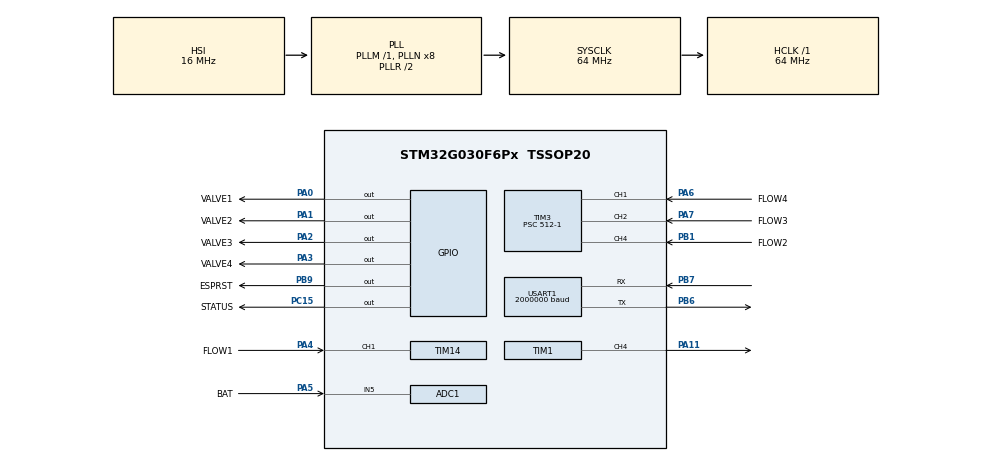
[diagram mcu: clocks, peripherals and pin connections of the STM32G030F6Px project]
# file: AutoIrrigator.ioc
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ADC1.Channel-0\#ChannelRegularConversion=ADC_CHANNEL_5
ADC1.NbrOfConversionFlag=1
ADC1.Rank-0\#ChannelRegularConversion=1
ADC1.SamplingTime-0\#ChannelRegularConversion=ADC_SAMPLINGTIME_COMMON_1
ADC1.SelectedChannel=ADC_CHANNEL_5
ADC1.master=1
Dma.Request0=USART1_RX
Dma.USART1_RX.0.Direction=DMA_PERIPH_TO_MEMORY
Dma.USART1_RX.0.EventEnable=DISABLE
Dma.USART1_RX.0.Instance=DMA1_Channel1
Dma.USART1_RX.0.MemDataAlignment=DMA_MDATAALIGN_BYTE
Dma.USART1_RX.0.MemInc=DMA_MINC_ENABLE
Dma.USART1_RX.0.Mode=DMA_CIRCULAR
Dma.USART1_RX.0.PeriphDataAlignment=DMA_PDATAALIGN_BYTE
Dma.USART1_RX.0.PeriphInc=DMA_PINC_DISABLE
Dma.USART1_RX.0.Polarity=HAL_DMAMUX_REQ_GEN_RISING
Dma.USART1_RX.0.Priority=DMA_PRIORITY_LOW
Dma.USART1_RX.0.RequestNumber=1
Dma.USART1_RX.0.SignalID=NONE
Dma.USART1_RX.0.SyncEnable=DISABLE
Dma.USART1_RX.0.SyncPolarity=HAL_DMAMUX_SYNC_NO_EVENT
Dma.USART1_RX.0.SyncRequestNumber=1
Dma.USART1_RX.0.SyncSignalID=NONE
Mcu.Family=STM32G0
Mcu.Name=STM32G030F6Px
Mcu.Package=TSSOP20
NVIC.DMA1_Channel1_IRQn=true\:1\:0\:true\:false\:true\:false\:true\:true
NVIC.TIM14_IRQn=true\:0\:0\:false\:false\:true\:true\:true\:true
NVIC.TIM1_CC_IRQn=true\:0\:0\:false\:false\:true\:true\:true\:true
NVIC.TIM3_IRQn=true\:0\:0\:false\:false\:true\:true\:true\:true
PA0.GPIO_Label=VALVE1
PA0.GPIO_PuPd=GPIO_NOPULL
PA0.PinState=GPIO_PIN_RESET
PA0.Signal=GPIO_Output
PA1.GPIO_Label=VALVE2
PA1.GPIO_PuPd=GPIO_NOPULL
PA1.Signal=GPIO_Output
PA11\ [PA9].Signal=S_TIM1_CH4
PA13.Mode=Serial_Wire
PA13.Signal=SYS_SWDIO
PA14-BOOT0.Mode=Serial_Wire
PA14-BOOT0.Signal=SYS_SWCLK
PA14-BOOT0__PA15.StandardMode=true
PA2.GPIO_Label=VALVE3
PA2.GPIO_PuPd=GPIO_NOPULL
PA2.Signal=GPIO_Output
PA3.GPIO_Label=VALVE4
PA3.GPIO_PuPd=GPIO_NOPULL
PA3.Signal=GPIO_Output
PA4.GPIO_Label=FLOW1
PA4.GPIO_PuPd=GPIO_PULLUP
PA4.Signal=S_TIM14_CH1
PA5.GPIO_Label=BAT
PA5.Mode=IN5
PA5.Signal=ADC1_IN5
PA6.GPIO_Label=FLOW4
PA6.GPIO_PuPd=GPIO_PULLUP
PA6.Signal=S_TIM3_CH1
PA7.GPIO_Label=FLOW3
PA7.GPIO_PuPd=GPIO_PULLUP
PA7.Signal=S_TIM3_CH2
PB0__PB1__PB2__PA8.StandardMode=true
PB1.GPIO_Label=FLOW2
PB1.Signal=S_TIM3_CH4
PB3__PB4__PB5__PB6.StandardMode=true
PB6.GPIO_PuPd=GPIO_PULLUP
PB6.Mode=Asynchronous
PB6.Signal=USART1_TX
PB7.GPIO_PuPd=GPIO_PULLUP
PB7.Mode=Asynchronous
PB7.Signal=USART1_RX
PB7__PB8.StandardMode=true
PB9.GPIO_Label=ESPRST
PB9.GPIO_PuPd=GPIO_NOPULL
PB9.PinState=GPIO_PIN_SET
PB9.Signal=GPIO_Output
PC14-OSC32_IN\ (PC14)__PB9.StandardMode=true
PC15-OSC32_OUT\ (PC15).GPIO_Label=STATUS
PC15-OSC32_OUT\ (PC15).Signal=GPIO_Output
ProjectManager.HeapSize=0x200
ProjectManager.StackSize=0x400
ProjectManager.TargetToolchain=CMake
RCC.ADCFreq_Value=64000000
RCC.AHBFreq_Value=64000000
RCC.CortexFreq_Value=64000000
RCC.EXTERNAL_CLOCK_VALUE=12288000
RCC.HCLKFreq_Value=64000000
RCC.HSE_VALUE=8000000
RCC.HSI_VALUE=16000000
RCC.LSE_VALUE=32768
RCC.SYSCLKFreq_VALUE=64000000
RCC.SYSCLKSource=RCC_SYSCLKSOURCE_PLLCLK
RCC.VCOOutputFreq_Value=128000000
SH.S_TIM14_CH1.0=TIM14_CH1,Input_Capture1_from_TI1
SH.S_TIM1_CH4.0=TIM1_CH4,PWM Generation4 CH4
SH.S_TIM3_CH1.0=TIM3_CH1,Input_Capture1_from_TI1
SH.S_TIM3_CH2.0=TIM3_CH2,Input_Capture2_from_TI2
SH.S_TIM3_CH4.0=TIM3_CH4,Input_Capture4_from_TI4
TIM1.Channel-PWM\ Generation4\ CH4=TIM_CHANNEL_4
TIM1.Period=20000-1
TIM1.Prescaler=64-1
TIM14.Channel=TIM_CHANNEL_1
TIM14.Prescaler=512-1
TIM3.Channel-Input_Capture1_from_TI1=TIM_CHANNEL_1
TIM3.Channel-Input_Capture2_from_TI2=TIM_CHANNEL_2
TIM3.Channel-Input_Capture4_from_TI4=TIM_CHANNEL_4
TIM3.Prescaler=512-1
USART1.BaudRate=2000000
USART1.VirtualMode-Asynchronous=VM_ASYNC
VP_TIM14_VS_ClockSourceINT.Mode=Enable_Timer
VP_TIM1_VS_ClockSourceINT.Mode=Internal
VP_TIM3_VS_ClockSourceINT.Mode=Internal
board=custom

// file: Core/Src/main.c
/* USER CODE BEGIN Header */
/**
  ******************************************************************************
  * @file           : main.c
  * @brief          : Main program body
  ******************************************************************************
  * @attention
  *
  * Copyright (c) 2025 STMicroelectronics.
  * All rights reserved.
  *
  * This software is licensed under terms that can be found in the LICENSE file
  * in the root directory of this software component.
  * If no LICENSE file comes with this software, it is provided AS-IS.
  *
  ******************************************************************************
  */
/* USER CODE END Header */
#include "main.h"
#include "adc.h"
#include "dma.h"
#include "stm32g0xx_hal_def.h"
#include "stm32g0xx_hal_tim.h"
#include "tim.h"
#include "usart.h"
#include "gpio.h"

/* USER CODE BEGIN Includes */
#include <string.h>
#include <stdio.h>

#include "../ESP8266/esp8266.h"
#include "../wifihandler/wifihandler.h"
#include "../wifihandler/userhandlers.h"
#include "../credentials.h"
#include "../irrigator/irrigator.h"
#include "../settings.h"
#include "../weather/weather.h"
#include "servo.h"
/* USER CODE END Includes */

/* USER CODE BEGIN PTD */
Battery_t bat;
/* USER CODE END PTD */

/* USER CODE BEGIN PM */
#define BAT_ADC_CALIBRATION_VALUE 2128 / 600
/* USER CODE END PM */

/* USER CODE BEGIN PV */
const uint32_t MAX_FLOW_PERIOD = 1 / ((float)MIN_WATER_FLOW / 60.0 * 7.5) * 1000;

uint8_t time_hour = 0xFF;
uint8_t time_minute = 0xFF;

WIFI_t wifi;

Valve_t valve_list[VALVES_NUM];
Flow_t flow1;
Flow_t flow2;
Flow_t flow3;
Flow_t flow4;
Schedule_t schedule1;
Schedule_t schedule2;
Schedule_t schedule3;
Schedule_t schedule4;

Weather_t weather;
int8_t yesterday_last_precipitation_hour = -1;
Switch_t* sw_valves[VALVES_NUM];
bool last_sw_status[VALVES_NUM] = {false, false, false, false};
/* USER CODE END PV */

void SystemClock_Config(void);
/* USER CODE BEGIN PFP */
void BATTERY_GetVoltage(void);
/* USER CODE END PFP */

/* USER CODE BEGIN 0 */
static bool is_rain_blocking(void)
{
  if (weather.current_precipitation >= PRECIPITATION_THRESHOLD)
    return true;
  if (time_hour <= 23)
  {
    if (yesterday_last_precipitation_hour >= 0 && (24 - yesterday_last_precipitation_hour + time_hour <= 12))
      return true;

    uint8_t start_h = (time_hour > 12) ? (time_hour - 12) : 0;
    uint8_t end_h = (time_hour + 12 < 24) ? (time_hour + 12) : 23;
    for (uint8_t h = start_h; h <= end_h; h++)
    {
      if (weather.hourly_precipitation[h] >= PRECIPITATION_THRESHOLD)
        return true;
    }
  }
  return false;
}
/* USER CODE END 0 */

int main(void)
{

  /* MCU Configuration--------------------------------------------------------*/

  /* Reset of all peripherals, Initializes the Flash interface and the Systick. */
  HAL_Init();

  /* Configure the system clock */
  SystemClock_Config();

  /* Initialize all configured peripherals */
  MX_GPIO_Init();
  MX_DMA_Init();
  MX_TIM1_Init();
  MX_TIM3_Init();
  MX_TIM14_Init();
  MX_USART1_UART_Init();
  MX_ADC1_Init();
  /* USER CODE BEGIN 2 */
  // ESPRST is HIGH by default (set up in .ioc file) so ESP is enabled by default
  if (ESP8266_Init() == TIMEOUT)
  {
	while (1)
		__NOP();
  }

  HAL_TIM_PWM_Start(&htim1, TIM_CHANNEL_4);

#ifdef ENABLE_SAVE_TO_FLASH
  FLASH_ReadSaveData();
  if (WIFI_SetName(&wifi, savedata.name) == ERR)
    WIFI_SetName(&wifi, (char*)ESP_NAME); // happens when there is nothing saved to FLASH, so set default name
  WIFI_SetIP(&wifi, savedata.ip);         // if there is nothing saved to FLASH, this function does nothing
#else
  WIFI_SetName(&wifi, (char*)ESP_NAME);
#endif

  memcpy(wifi.SSID, ssid, strlen(ssid));
  memcpy(wifi.pw, password, strlen(password));
  HAL_GPIO_WritePin(STATUS_Port, STATUS_Pin, 1);
  uint32_t connect_status = WIFI_Connect(&wifi);
  if (connect_status == FAIL || connect_status == ERROR)
  {
    // try again
    NVIC_SystemReset();
  }
  HAL_GPIO_WritePin(STATUS_Port, STATUS_Pin, 0);
  WIFI_EnableNTPServer(&wifi, 0);

  /*
  The first time the ESP connects to WiFi, the gateway assigns an IP to it, which now gets saved to FLASH.
  The next time the ESP connects, the gateway could assign a different IP; to prevent this, the function
  WIFI_SetIP(&wifi, savedata.ip); loads the IP previously saved on FLASH so that the ESP tries to connect
  and get this IP
  */
  strncpy(savedata.ip, wifi.IP, 15);
  FLASH_WriteSaveData();

  HAL_TIM_IC_Start_IT(&htim14, TIM_CHANNEL_1);
  HAL_TIM_IC_Start_IT(&htim3, TIM_CHANNEL_4);
  HAL_TIM_IC_Start_IT(&htim3, TIM_CHANNEL_1);
  HAL_TIM_IC_Start_IT(&htim3, TIM_CHANNEL_2);

  static const char* const valve_names[VALVES_NUM] = {"Valvola Ovest", "Valvola Sud", "Valvola Sud-Est", "Valvola Est"};
  static const char* const valve_ids[VALVES_NUM] = {"valve1", "valve2", "valve3", "valve4"};
  static const char* const flow_names[VALVES_NUM] = {"Flusso Ovest", "Flusso Sud", "Flusso Sud-Est", "Flusso totale"};
  static const char* const flow_ids[VALVES_NUM] = {"flow1", "flow2", "flow3", "total_flow"};
  GPIO_TypeDef* const ports[VALVES_NUM] = {VALVE1_GPIO_Port, VALVE2_GPIO_Port, VALVE3_GPIO_Port, VALVE4_GPIO_Port};
  const uint16_t pins[VALVES_NUM] = {VALVE1_Pin, VALVE2_Pin, VALVE3_Pin, VALVE4_Pin};
  Flow_t* const flows[VALVES_NUM] = {&flow1, &flow2, &flow3, &flow4};
  Schedule_t* const scheds[VALVES_NUM] = {&schedule1, &schedule2, &schedule3, &schedule4};
  int32_t* const flow_vals[VALVES_NUM] = {&flow1_val, &flow2_val, &flow3_val, &total_flow_val};

  for (int i = 0; i < VALVES_NUM; i++)
  {
    WIFIHANDLER_MQTT_RegisterSwitch(valve_ids[i], valve_names[i], false, ports[i], pins[i], false);
    sw_valves[i] = &switches[i];
    VALVE_Init(&valve_list[i], flows[i], scheds[i], i + 1, ports[i], pins[i], sw_valves[i]);
    WIFIHANDLER_MQTT_RegisterSensor(flow_names[i], "L/h", flow_ids[i], "volume_flow_rate", flow_vals[i], 0);
  }
  WIFIHANDLER_MQTT_RegisterSensor("Tensione batteria", "V", "battery", "voltage", &bat_voltage_val, 2);

#ifdef ENABLE_SERVO
  WIFIHANDLER_MQTT_RegisterServo("servo1", "Servo irrigatore", &htim1, TIM_CHANNEL_4, SERVO_DEFAULT_MIN_ANGLE, SERVO_DEFAULT_MAX_ANGLE, true);
#endif

  WEATHER_GetForecast(&weather, ESP8266_GetBuffer());
  WIFI_GetTime(&wifi);
  int32_t init_h = bufferToInt(wifi.time, 2);
  int32_t init_m = bufferToInt(wifi.time + 3, 2);
  if (init_h >= 0 && init_h <= 23) time_hour = (uint8_t)init_h;
  if (init_m >= 0 && init_m <= 59) time_minute = (uint8_t)init_m;
  rain_factor_active = is_rain_blocking();

  SCHEDULE_ReadFromFlash(valve_list, VALVES_NUM);

  HAL_ADCEx_Calibration_Start(&hadc1);

  if (connect_status == OK)
  {
    if (WIFIHANDLER_MQTT_Init(&wifi, MQTT_BROKER_IP, MQTT_BROKER_PORT) == OK)
    {
      WIFIHANDLER_MQTT_PublishAllDiscovery(&wifi);
      WIFIHANDLER_MQTT_PublishAllStates(&wifi);
    }
  }
  /* USER CODE END 2 */

  /* Infinite loop */
  /* USER CODE BEGIN WHILE */
  uint32_t timestamp = 0;
  uint32_t last_mqtt_publish = 0;

  //bool low_bat_notification = false;
  bool valves_closed_notification = false;

  while (1)
  {
    BATTERY_GetVoltage();
    USER_CalculateSensors();

    // Synchronize valve states with switch states (if MQTT received a command)
    for (uint32_t i = 0; i < VALVES_NUM; i++)
    {
      if (valve_list[i].sw != NULL)
      {
        valve_list[i].isOpen = valve_list[i].sw->pressed;
        valve_list[i].has_manual_override = valve_list[i].sw->manual;
      }
    }

    HAL_GPIO_WritePin(STATUS_Port, STATUS_Pin, 1);
    WIFIHANDLER_MQTT_Loop(&wifi);

    WIFIHANDLER_ReconnectIfDisconnected(&wifi);

    if (HAL_GetTick() - last_mqtt_publish > MQTT_PUBLISH_INTERVAL)
    {
      last_mqtt_publish = HAL_GetTick();
      USER_PublishSensors(&wifi);
      for (int i = 0; i < VALVES_NUM; i++)
      {
        if (sw_valves[i] != NULL && sw_valves[i]->pressed != last_sw_status[i])
        {
          WIFIHANDLER_MQTT_PubStateSwitch(&wifi, sw_valves[i]);
          last_sw_status[i] = sw_valves[i]->pressed;
        }
      }
    }
    HAL_GPIO_WritePin(STATUS_Port, STATUS_Pin, 0);

    // HANDLE WATER FLOW
    // check flow for each valve
    for (uint32_t i = 0; i < VALVES_NUM; i++)
    {
      Valve_t* valve = &(valve_list[i]);
      if (valve->flow == NULL) continue;
      if (uwTick - valve->flow->ic_timestamp > MAX_FLOW_PERIOD)
        valve->flow->lt_per_hour = 0;
    }

    // check time periodically and handle schedule every minute
    if (uwTick - timestamp >= 1000)
    {
      timestamp = uwTick;
      int32_t cur_h = WIFI_GetTimeHour(&wifi);
      int32_t cur_m = WIFI_GetTimeMinutes(&wifi);
      if (cur_h >= 0 && cur_h <= 23 && cur_m >= 0 && cur_m <= 59)
      {
        if (cur_m != time_minute || cur_h != time_hour)
        {
          time_hour = (uint8_t)cur_h;
          time_minute = (uint8_t)cur_m;

          // --------- UPDATE FORECAST ---------
          if (time_minute % 15 == 0)
            WEATHER_GetForecast(&weather, ESP8266_GetBuffer());

          if (time_hour == 23 && time_minute == 59)
            yesterday_last_precipitation_hour = WEATHER_GetTodayLastPrecipitation(&weather);

          // --------- KEEP VALVES CLOSED IF RAIN IS A FACTOR ---------
          bool keep_valves_closed = is_rain_blocking();
          if (keep_valves_closed != rain_factor_active)
          {
            USER_MQTT_PublishRainFactor(&wifi, keep_valves_closed);
          }

          if (keep_valves_closed && !valves_closed_notification)
          {
            valves_closed_notification = true;
            WIFIHANDLER_MQTT_SendNotification(&wifi, NOTIFICATION_WEATHER_NO_VALVE_OPEN);
          }
          else if (!keep_valves_closed)
          {
            valves_closed_notification = false;
          }

          // --------- CLOSE/OPEN VALVES ---------
          for (uint32_t i = 0; i < VALVES_NUM; i++)
          {
            // code executed for each valve
            Valve_t* valve = &(valve_list[i]);

            if (keep_valves_closed)
            {
              // executed when rain is last/next 12 hours
              if (!valve->has_manual_override)
              {
                VALVE_Close(valve);
                if (valve->sw != NULL)
                {
                  WIFIHANDLER_MQTT_PubStateSwitch(&wifi, valve->sw);
                  last_sw_status[i] = valve->sw->pressed;
                }
              }
            }
            else
            {
              // executed in normal conditions (no rain)
              // open the valve following schedule only if it doesn't rain and duration > 0
              if (valve->schedule->duration > 0 &&
                  time_hour == valve->schedule->hour_open && time_minute == valve->schedule->minute_open)
              {
                valve->has_manual_override = false;
                if (valve->sw != NULL) valve->sw->manual = false;
                VALVE_Open(valve);
                if (valve->sw != NULL)
                {
                  WIFIHANDLER_MQTT_PubStateSwitch(&wifi, valve->sw);
                  last_sw_status[i] = valve->sw->pressed;
                }
              }
            }

            // close valve anyway (following schedule), regardless of rain/manual override
            if (valve->schedule->duration > 0)
            {
              int32_t close_minute = ((int32_t)valve->schedule->hour_open * 60 + valve->schedule->minute_open + valve->schedule->duration) % 1440;
              if ((time_hour * 60 + time_minute) == close_minute)
              {
                valve->has_manual_override = false;
                if (valve->sw != NULL) valve->sw->manual = false;
                VALVE_Close(valve);
                if (valve->sw != NULL)
                {
                  WIFIHANDLER_MQTT_PubStateSwitch(&wifi, valve->sw);
                  last_sw_status[i] = valve->sw->pressed;
                }
              }
            }
          }
        }
      }
    }

    /* USER CODE END WHILE */

  }
}

void SystemClock_Config(void)
{
  RCC_OscInitTypeDef RCC_OscInitStruct = {0};
  RCC_ClkInitTypeDef RCC_ClkInitStruct = {0};

  /** Configure the main internal regulator output voltage
  */
  HAL_PWREx_ControlVoltageScaling(PWR_REGULATOR_VOLTAGE_SCALE1);

  /** Initializes the RCC Oscillators according to the specified parameters
  * in the RCC_OscInitTypeDef structure.
  */
  RCC_OscInitStruct.OscillatorType = RCC_OSCILLATORTYPE_HSI;
  RCC_OscInitStruct.HSIState = RCC_HSI_ON;
  RCC_OscInitStruct.HSIDiv = RCC_HSI_DIV1;
  RCC_OscInitStruct.HSICalibrationValue = RCC_HSICALIBRATION_DEFAULT;
  RCC_OscInitStruct.PLL.PLLState = RCC_PLL_ON;
  RCC_OscInitStruct.PLL.PLLSource = RCC_PLLSOURCE_HSI;
  RCC_OscInitStruct.PLL.PLLM = RCC_PLLM_DIV1;
  RCC_OscInitStruct.PLL.PLLN = 8;
  RCC_OscInitStruct.PLL.PLLP = RCC_PLLP_DIV2;
  RCC_OscInitStruct.PLL.PLLR = RCC_PLLR_DIV2;
  if (HAL_RCC_OscConfig(&RCC_OscInitStruct) != HAL_OK)
  {
    Error_Handler();
  }

  /** Initializes the CPU, AHB and APB buses clocks
  */
  RCC_ClkInitStruct.ClockType = RCC_CLOCKTYPE_HCLK|RCC_CLOCKTYPE_SYSCLK
                              |RCC_CLOCKTYPE_PCLK1;
  RCC_ClkInitStruct.SYSCLKSource = RCC_SYSCLKSOURCE_PLLCLK;
  RCC_ClkInitStruct.AHBCLKDivider = RCC_SYSCLK_DIV1;
  RCC_ClkInitStruct.APB1CLKDivider = RCC_HCLK_DIV1;

  if (HAL_RCC_ClockConfig(&RCC_ClkInitStruct, FLASH_LATENCY_2) != HAL_OK)
  {
    Error_Handler();
  }
}

/* USER CODE BEGIN 4 */
void BATTERY_GetVoltage(void)
{
	HAL_ADC_Start(&hadc1);
	HAL_ADC_PollForConversion(&hadc1, 250);
	bat.voltage_mv = HAL_ADC_GetValue(&hadc1) * BAT_ADC_CALIBRATION_VALUE;
	bat.voltage_integer = bat.voltage_mv / 1000;
	bat.voltage_decimal = (bat.voltage_mv - bat.voltage_integer * 1000) / 10;
}

void HAL_TIM_IC_CaptureCallback(TIM_HandleTypeDef *htim)
{
	if (htim->Instance == TIM14 && htim->Channel == HAL_TIM_ACTIVE_CHANNEL_1)
	{
		// FLOW1, VALVE1
		// TIM14 only has one channel
		uint32_t val = HAL_TIM_ReadCapturedValue(htim, TIM_CHANNEL_1);
		valve_list[0].flow->ic_val = val;
		FLOW_CalculateFlow(valve_list[0].flow);
	}
	else if (htim->Instance == TIM3 && htim->Channel)
	{
		if (htim->Channel == HAL_TIM_ACTIVE_CHANNEL_1)
		{
			// FLOW4
			uint32_t val = HAL_TIM_ReadCapturedValue(htim, TIM_CHANNEL_1);
			valve_list[3].flow->ic_val = val;
			FLOW_CalculateFlow(valve_list[3].flow);
		}
		else if (htim->Channel == HAL_TIM_ACTIVE_CHANNEL_2)
		{
			// FLOW3
			uint32_t val = HAL_TIM_ReadCapturedValue(htim, TIM_CHANNEL_2);
			valve_list[2].flow->ic_val = val;
			FLOW_CalculateFlow(valve_list[2].flow);
		}
    else if (htim->Channel == HAL_TIM_ACTIVE_CHANNEL_4)
    {
      // FLOW2
      uint32_t val = HAL_TIM_ReadCapturedValue(htim, TIM_CHANNEL_1);
      valve_list[1].flow->ic_val = val;
      FLOW_CalculateFlow(valve_list[1].flow);
    }
	}
}
/* USER CODE END 4 */

void Error_Handler(void)
{
  __disable_irq();
  while (1)
  {
  }
}
